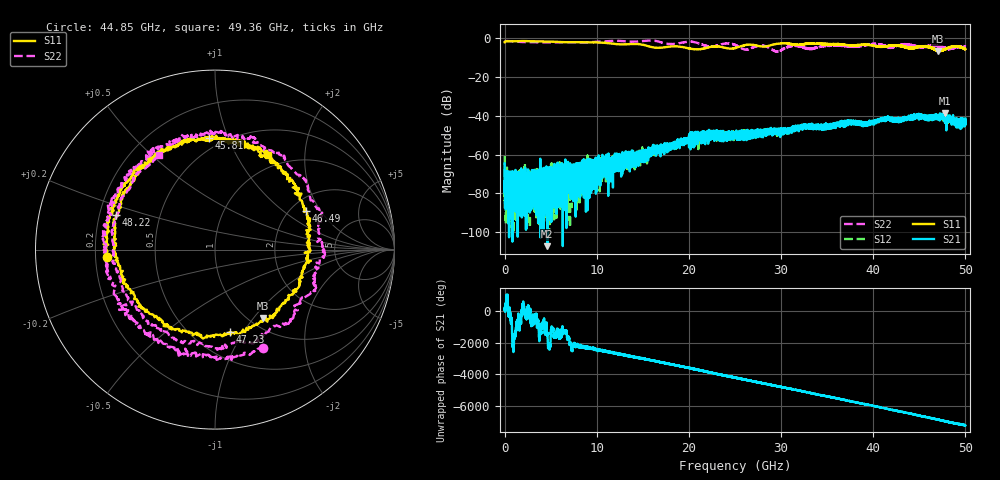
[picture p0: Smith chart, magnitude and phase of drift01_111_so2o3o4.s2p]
!Created with skrf (http://scikit-rf.org).
# Hz S RI R 50.0
!freq ReS11 ImS11 ReS21 ImS21 ReS12 ImS12 ReS22 ImS22
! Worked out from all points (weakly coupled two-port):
!   10001 points, 300 kHz to 50 GHz, reference 50 ohm
!   highest |S21| = -38.66 dB at 47.74 GHz (marker M1); lowest = -107.3 dB at 4.635 GHz (marker M2)
!   lowest |S11| = -6.6 dB at 47.07 GHz (marker M3), VSWR 2.74, Z = 57.6 - j56 ohm
!   |S11| at or under -10 dB: nowhere
!   |S22| runs from -6.8 to -1.0 dB; largest |S21 - S12| = 0.005
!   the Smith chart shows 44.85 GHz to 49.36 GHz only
!   S11 on the Smith chart (normalised r, x): 44.85 GHz: 0.25, -0.03; 45.81 GHz: 0.42, +0.85; 46.49 GHz: 2.42, +1.49; 47.23 GHz: 0.74, -0.87; 48.22 GHz: 0.27, +0.16; 49.36 GHz: 0.81, +1.36
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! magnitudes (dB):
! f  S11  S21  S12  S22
! 300 kHz  -2.1  -64.6  -60.7  -1.3
! 255.3 MHz  -1.4  -79.8  -70.3  -1.4
! 520.3 MHz  -1.5  -76.1  -81.4  -1.4
! 4.635 GHz  -1.6  -107.3  -78.9  -2.1
! 8.335 GHz  -1.9  -70.6  -71.7  -2.1
! 16.67 GHz  -4.8  -57.7  -56.5  -1.6
! 21.51 GHz  -5.3  -51.8  -52.2  -3.3
! 25 GHz  -5.0  -51.0  -48.7  -3.4
! 28.09 GHz  -4.2  -47.9  -49.7  -3.8
! 29.53 GHz  -2.8  -49.1  -47.7  -6.7
! 31.29 GHz  -3.0  -46.4  -46.5  -4.0
! 33.34 GHz  -2.6  -46.2  -45.6  -5.5
! 41.67 GHz  -3.9  -41.7  -41.4  -4.5
! 44.85 GHz  -4.4  -40.2  -40.0  -4.3
! 45.81 GHz  -4.1  -40.2  -40.2  -4.0
! 46.49 GHz  -5.2  -40.2  -41.1  -3.9
! 47.07 GHz  -6.6  -39.5  -39.4  -4.2
! 47.23 GHz  -6.6  -40.5  -40.8  -4.2
! 47.74 GHz  -5.7  -38.7  -40.3  -5.0
! 48.22 GHz  -4.7  -42.1  -43.0  -5.4
! 49.36 GHz  -4.4  -44.7  -43.2  -4.2
! 50 GHz  -5.5  -41.4  -44.0  -4.3
